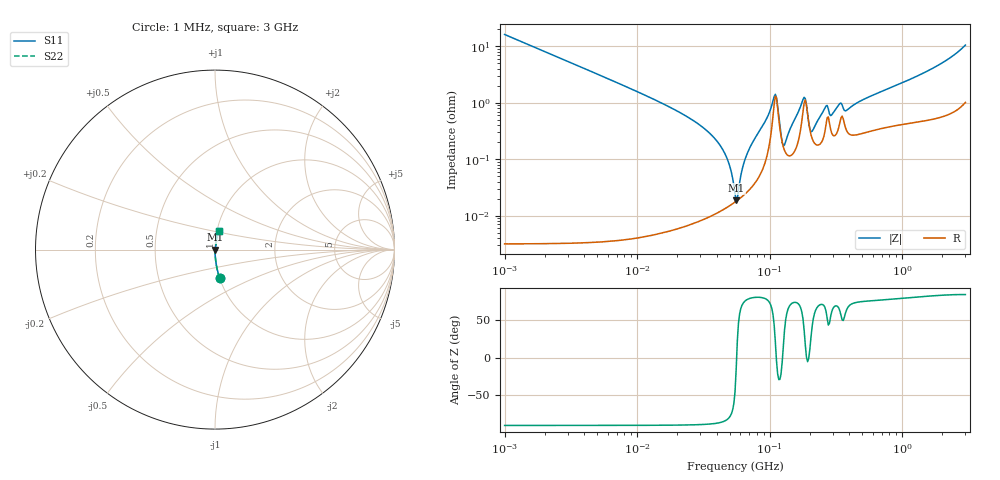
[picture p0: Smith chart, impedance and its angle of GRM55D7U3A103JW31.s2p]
!Murata Part Number: GRM55D7U3A103JW31
!These Parameters are Measured in Series Mode Connection
!Data Generated on Mar 30, 2021
!  o--ll--o
!Port1  Port2
!  o------o
!Operation Temp=25[degC], DC Bias Voltage=0[V]
!Freq. Start=1000[kHz] Stop=3[GHz] 401[Steps]
# Hz S RI R 50
!Freq.(Hz) S11(Real) S11(Imag) S21(Real) S21(Imag) S12(Real) S12(Imag) S22(Real) S22(Imag)
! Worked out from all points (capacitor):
!   401 points, 1 MHz to 3 GHz, reference 50 ohm
!   read as one part in series: C = 9.75 nF near 1.041 MHz
!   lowest |Z| = 18.7 mohm at 55.88 MHz (marker M1)
!   series resonance near 56.34 MHz, so ESL is about 820 pH
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1000000  0.026 -0.1589  0.974 0.1589  0.974 0.1589  0.026 -0.1589
3823119  0.00184 -0.0424  0.9982 0.0424  0.9982 0.0424  0.00184 -0.0424
1.461624e7  0.000157 -0.0105  0.9998 0.0105  0.9998 0.0105  0.000157 -0.0105
3.897472e7  0.000112 -0.00226  0.9999 0.00226  0.9999 0.00226  0.000112 -0.00226
4.761141e7  0.000141 -0.00104  0.9999 0.00104  0.9999 0.00104  0.000141 -0.00104
5.477226e7  0.000174 -0.000177  0.9998 0.000177  0.9998 0.000177  0.000174 -0.000177
5.587962e7  0.00018 -5.15e-05  0.9998 5.15e-05  0.9998 5.15e-05  0.00018 -5.15e-05
6.826239e7  0.00027 0.00129  0.9997 -0.00129  0.9997 -0.00129  0.00027 0.00129
1.081723e8  0.00933 0.00885  0.9907 -0.00885  0.9907 -0.00885  0.00933 0.00885
1.125904e8  0.0122 -0.000714  0.9878 0.000714  0.9878 0.000714  0.0122 -0.000714
1.219755e8  0.00253 -0.000959  0.9975 0.000959  0.9975 0.000959  0.00253 -0.000959
1.269575e8  0.00164 0.00051  0.9984 -0.00051  0.9984 -0.00051  0.00164 0.00051
1.784169e8  0.00702 0.00892  0.993 -0.00892  0.993 -0.00892  0.00702 0.00892
1.857042e8  0.0112 0.00357  0.9888 -0.00357  0.9888 -0.00357  0.0112 0.00357
2.011837e8  0.00336 0.000702  0.9966 -0.000702  0.9966 -0.000702  0.00336 0.000702
2.094008e8  0.00232 0.00211  0.9977 -0.00211  0.9977 -0.00211  0.00232 0.00211
2.662515e8  0.00411 0.00772  0.9959 -0.00772  0.9959 -0.00772  0.00411 0.00772
2.942768e8  0.00291 0.00538  0.9971 -0.00538  0.9971 -0.00538  0.00291 0.00538
3.385367e8  0.00449 0.00859  0.9955 -0.00859  0.9955 -0.00859  0.00449 0.00859
3.817355e8  0.00321 0.00663  0.9968 -0.00663  0.9968 -0.00663  0.00321 0.00663
8.005644e8  0.00405 0.0177  0.9959 -0.0177  0.9959 -0.0177  0.00405 0.0177
3e9  0.0207 0.1021  0.9793 -0.1021  0.9793 -0.1021  0.0207 0.1021
